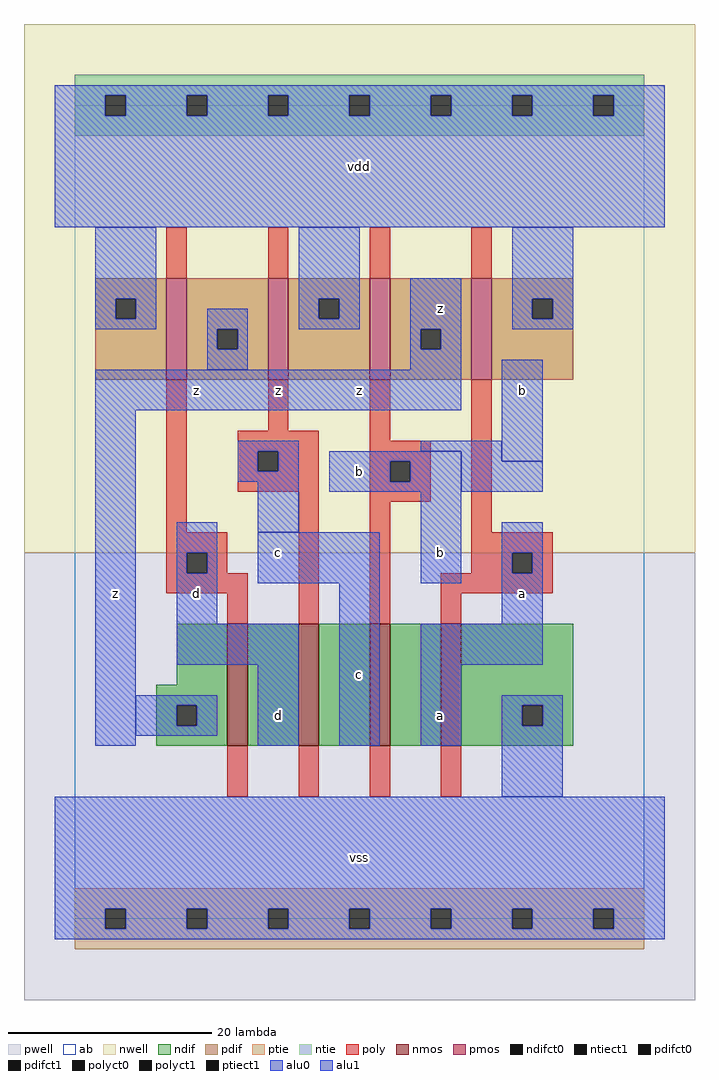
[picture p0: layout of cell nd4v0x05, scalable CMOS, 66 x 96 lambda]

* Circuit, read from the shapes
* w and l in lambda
.subckt nd4v0x05 a b c d vdd vss z
M1 n1 d z vss nfet w=12 l=2
M2 n2 c n1 vss nfet w=12 l=2
M3 n3 b n2 vss nfet w=12 l=2
M4 vss a n3 vss nfet w=12 l=2
M5 z d vdd vdd pfet w=10 l=2
M6 vdd c z vdd pfet w=10 l=2
M7 z b vdd vdd pfet w=10 l=2
M8 vdd a z vdd pfet w=10 l=2
.ends

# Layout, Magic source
magic
tech scmos
<< ab >>
rect 0 0 56 80
<< nwell >>
rect -5 36 61 88
<< pwell >>
rect -5 -8 61 36
<< poly >>
rect 9 63 11 68
rect 19 63 21 68
rect 29 63 31 68
rect 39 63 41 68
rect 9 38 11 53
rect 19 48 21 53
rect 16 46 24 48
rect 16 44 18 46
rect 20 44 24 46
rect 16 42 24 44
rect 9 36 15 38
rect 9 34 11 36
rect 13 34 15 36
rect 9 32 17 34
rect 15 29 17 32
rect 22 29 24 42
rect 29 47 31 53
rect 29 45 35 47
rect 29 43 31 45
rect 33 43 35 45
rect 29 41 35 43
rect 29 29 31 41
rect 39 38 41 53
rect 39 36 47 38
rect 39 34 43 36
rect 45 34 47 36
rect 36 32 47 34
rect 36 29 38 32
rect 15 12 17 17
rect 22 12 24 17
rect 29 12 31 17
rect 36 12 38 17
<< ndif >>
rect 10 23 15 29
rect 8 21 15 23
rect 8 19 10 21
rect 12 19 15 21
rect 8 17 15 19
rect 17 17 22 29
rect 24 17 29 29
rect 31 17 36 29
rect 38 21 49 29
rect 38 19 44 21
rect 46 19 49 21
rect 38 17 49 19
<< pdif >>
rect 2 61 9 63
rect 2 59 4 61
rect 6 59 9 61
rect 2 53 9 59
rect 11 58 19 63
rect 11 56 14 58
rect 16 56 19 58
rect 11 53 19 56
rect 21 61 29 63
rect 21 59 24 61
rect 26 59 29 61
rect 21 53 29 59
rect 31 58 39 63
rect 31 56 34 58
rect 36 56 39 58
rect 31 53 39 56
rect 41 61 49 63
rect 41 59 45 61
rect 47 59 49 61
rect 41 53 49 59
<< alu1 >>
rect -2 81 58 82
rect -2 79 3 81
rect 5 79 11 81
rect 13 79 19 81
rect 21 79 27 81
rect 29 79 35 81
rect 37 79 43 81
rect 45 79 51 81
rect 53 79 58 81
rect -2 68 58 79
rect 33 58 38 63
rect 33 56 34 58
rect 36 56 38 58
rect 33 54 38 56
rect 2 50 38 54
rect 2 17 6 50
rect 10 36 14 39
rect 10 34 11 36
rect 13 34 14 36
rect 10 29 14 34
rect 25 45 38 46
rect 42 45 46 55
rect 25 43 31 45
rect 33 43 38 45
rect 25 42 38 43
rect 18 33 30 38
rect 34 33 38 42
rect 42 36 46 39
rect 42 34 43 36
rect 45 34 46 36
rect 10 25 22 29
rect 18 17 22 25
rect 26 17 30 33
rect 42 29 46 34
rect 34 25 46 29
rect 34 17 38 25
rect -2 1 58 12
rect -2 -1 3 1
rect 5 -1 11 1
rect 13 -1 19 1
rect 21 -1 27 1
rect 29 -1 35 1
rect 37 -1 43 1
rect 45 -1 51 1
rect 53 -1 58 1
rect -2 -2 58 -1
<< ptie >>
rect 0 1 56 3
rect 0 -1 3 1
rect 5 -1 11 1
rect 13 -1 19 1
rect 21 -1 27 1
rect 29 -1 35 1
rect 37 -1 43 1
rect 45 -1 51 1
rect 53 -1 56 1
rect 0 -3 56 -1
<< ntie >>
rect 0 81 56 83
rect 0 79 3 81
rect 5 79 11 81
rect 13 79 19 81
rect 21 79 27 81
rect 29 79 35 81
rect 37 79 43 81
rect 45 79 51 81
rect 53 79 56 81
rect 0 77 56 79
<< nmos >>
rect 15 17 17 29
rect 22 17 24 29
rect 29 17 31 29
rect 36 17 38 29
<< pmos >>
rect 9 53 11 63
rect 19 53 21 63
rect 29 53 31 63
rect 39 53 41 63
<< polyct0 >>
rect 18 44 20 46
<< polyct1 >>
rect 11 34 13 36
rect 31 43 33 45
rect 43 34 45 36
<< ndifct0 >>
rect 10 19 12 21
rect 44 19 46 21
<< ntiect1 >>
rect 3 79 5 81
rect 11 79 13 81
rect 19 79 21 81
rect 27 79 29 81
rect 35 79 37 81
rect 43 79 45 81
rect 51 79 53 81
<< ptiect1 >>
rect 3 -1 5 1
rect 11 -1 13 1
rect 19 -1 21 1
rect 27 -1 29 1
rect 35 -1 37 1
rect 43 -1 45 1
rect 51 -1 53 1
<< pdifct0 >>
rect 4 59 6 61
rect 14 56 16 58
rect 24 59 26 61
rect 45 59 47 61
<< pdifct1 >>
rect 34 56 36 58
<< alu0 >>
rect 2 61 8 68
rect 2 59 4 61
rect 6 59 8 61
rect 22 61 28 68
rect 2 58 8 59
rect 13 58 17 60
rect 22 59 24 61
rect 26 59 28 61
rect 22 58 28 59
rect 43 61 49 68
rect 43 59 45 61
rect 47 59 49 61
rect 43 58 49 59
rect 13 56 14 58
rect 16 56 17 58
rect 13 54 17 56
rect 16 46 22 47
rect 34 46 42 47
rect 16 44 18 46
rect 20 44 22 46
rect 16 43 22 44
rect 18 38 22 43
rect 38 45 42 46
rect 38 42 46 45
rect 6 21 14 22
rect 6 19 10 21
rect 12 19 14 21
rect 6 18 14 19
rect 42 21 48 22
rect 42 19 44 21
rect 46 19 48 21
rect 42 12 48 19
<< labels >>
rlabel alu1 4 32 4 32 6 z
rlabel alu1 20 20 20 20 6 d
rlabel alu1 12 32 12 32 6 d
rlabel alu1 20 36 20 36 6 c
rlabel alu1 12 52 12 52 6 z
rlabel alu1 20 52 20 52 6 z
rlabel alu1 28 6 28 6 6 vss
rlabel alu1 36 20 36 20 6 a
rlabel alu1 28 24 28 24 6 c
rlabel alu1 36 36 36 36 6 b
rlabel alu1 28 44 28 44 6 b
rlabel alu1 28 52 28 52 6 z
rlabel alu1 36 60 36 60 6 z
rlabel alu1 28 74 28 74 6 vdd
rlabel alu1 44 32 44 32 6 a
rlabel alu1 44 52 44 52 6 b
<< end >>
